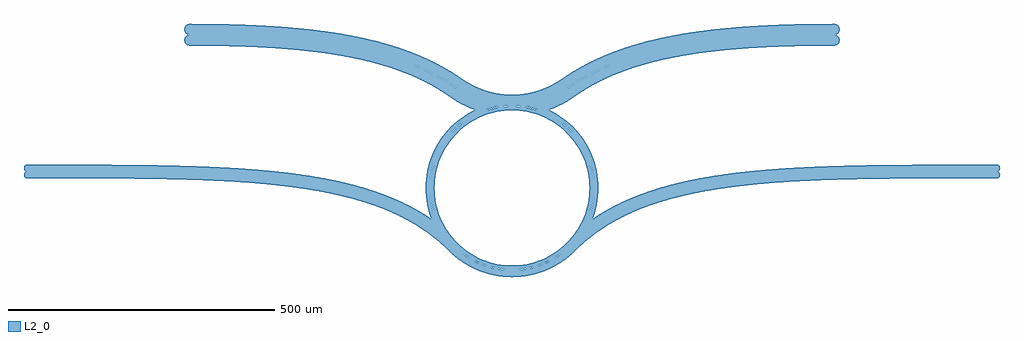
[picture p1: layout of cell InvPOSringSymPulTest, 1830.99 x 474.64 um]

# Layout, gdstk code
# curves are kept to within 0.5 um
import gdstk
lib = gdstk.Library(unit=1e-6, precision=1e-09)
def P(c, l, *ps):  # polygons
    for p in ps: c.add(gdstk.Polygon(p, *l))
L2_0 = (2, 0)

invposringsympultest = lib.new_cell('InvPOSringSymPulTest')
P(invposringsympultest, L2_0, [(1009.294,-181.819),(1009.294,-169.419),(1011.707,-169.906),(1013.678,-171.235),(1015.007,-173.206),(1015.494,-175.619),(1015.007,-178.032),(1013.678,-180.003),(1011.707,-181.332)],
  [(1009.294,-169.169),(1009.294,-156.769),(1011.707,-157.256),(1013.678,-158.585),(1015.007,-160.556),(1015.494,-162.969),(1015.007,-165.382),(1013.678,-167.353),(1011.707,-168.682)],
  [(100,-353.5),(84.954,-352.761),(70.054,-350.551),(55.441,-346.89),(41.258,-341.816),(27.641,-335.375),(14.72,-327.631),(2.621,-318.657),(-8.541,-308.541),(-18.657,-297.379),(-27.631,-285.28),(-35.375,-272.359),(-41.816,-258.742),(-46.89,-244.559),(-50.551,-229.946),(-52.761,-215.046),(-53.5,-200),(-52.761,-184.954),(-50.551,-170.054),(-46.89,-155.441),(-41.816,-141.258),(-35.375,-127.641),(-27.631,-114.72),(-18.657,-102.621),(-8.541,-91.459),(2.621,-81.343),(14.72,-72.369),(27.641,-64.625),(41.258,-58.184),(55.441,-53.11),(70.054,-49.449),(84.954,-47.239),(100,-46.5),(115.046,-47.239),(129.946,-49.449),(144.559,-53.11),(158.742,-58.184),(172.359,-64.625),(185.28,-72.369),(197.379,-81.343),(208.541,-91.459),(218.657,-102.621),(227.631,-114.72),(235.375,-127.641),(241.816,-141.258),(246.89,-155.441),(250.551,-170.054),(252.761,-184.954),(253.5,-200),(245.5,-200),(243.925,-178.651),(241.14,-164.646),(236.995,-150.983),(228.32,-131.412),(216.867,-113.326),(202.884,-97.116),(186.674,-83.133),(174.802,-75.2),(155.68,-65.576),(135.354,-58.86),(114.261,-55.201),(92.861,-54.675),(71.614,-57.296),(50.983,-63.005),(31.412,-71.68),(13.326,-83.133),(-2.884,-97.116),(-16.867,-113.326),(-24.8,-125.198),(-31.53,-137.791),(-39.235,-157.764),(-42.704,-171.614),(-45.325,-192.861),(-45.325,-207.139),(-42.704,-228.386),(-36.995,-249.017),(-31.53,-262.209),(-24.8,-274.802),(-12.473,-292.304),(-2.884,-302.884),(13.326,-316.867),(31.412,-328.32),(44.32,-334.424),(64.646,-341.14),(78.651,-343.925),(92.861,-345.325),(114.261,-344.799),(135.354,-341.14),(149.017,-336.995),(168.588,-328.32),(180.835,-320.979),(192.304,-312.473),(202.884,-302.884),(216.867,-286.674),(224.8,-274.802),(234.424,-255.68),(241.14,-235.354),(243.925,-221.349),(245.5,-200),(253.5,-200),(252.761,-215.046),(250.551,-229.946),(246.89,-244.559),(241.816,-258.742),(235.375,-272.359),(227.631,-285.28),(218.657,-297.379),(208.541,-308.541),(197.379,-318.657),(185.28,-327.631),(172.359,-335.375),(158.742,-341.816),(144.559,-346.89),(129.946,-350.551),(115.046,-352.761)],
  [(-504.506,67.15),(-508.398,67.936),(-511.577,70.079),(-513.72,73.258),(-514.506,77.15),(-513.72,81.043),(-511.577,84.222),(-508.398,86.365),(-504.635,87.15)],
  [(704.506,67.15),(704.635,87.15),(708.398,86.365),(711.577,84.222),(713.72,81.043),(714.506,77.15),(713.72,73.258),(711.577,70.079),(708.398,67.936)],
  [(704.506,87.55),(704.635,107.55),(708.398,106.765),(711.577,104.622),(713.72,101.443),(714.506,97.55),(713.72,93.658),(711.577,90.479),(708.398,88.336)],
  [(100,-367.09),(78.482,-365.699),(58.316,-361.807),(38.78,-355.471),(20.169,-346.786),(7.843,-339.378),(-3.8,-330.937),(-36.767,-300.936),(-61.312,-281.887),(-89.791,-263.835),(-120.496,-248.113),(-147.617,-236.748),(-177.539,-226.384),(-209.189,-217.421),(-243.964,-209.472),(-287.938,-201.658),(-334.43,-195.492),(-387.221,-190.467),(-446.37,-186.685),(-505.699,-184.304),(-575.438,-182.743),(-809.294,-181.819),(-812.117,-181.141),(-814.883,-178.307),(-815.335,-174.219),(-813.238,-170.835),(-809.454,-169.421),(-809.294,-181.819),(-809.294,-169.419),(-635.159,-169.711),(-526.314,-171.332),(-442.613,-174.471),(-371.113,-179.367),(-308.521,-186.186),(-252.165,-195.229),(-213.303,-203.644),(-177.939,-213.321),(-145.815,-224.216),(-115.561,-236.776),(-83.994,-252.896),(-54.689,-271.401),(-29.411,-290.916),(3.159,-320.627),(13.102,-327.975),(24.428,-334.974),(40.678,-342.863),(58.653,-349.062),(76.312,-352.866),(95.244,-354.617),(100,-354.44),(75.412,-352.47),(57.805,-348.564),(40.774,-342.632),(24.55,-334.755),(13.242,-327.769),(3.316,-320.432),(-28.532,-291.337),(-52.775,-272.445),(-79.845,-254.999),(-108.869,-239.635),(-135.156,-228.091),(-164.137,-217.466),(-194.722,-208.2),(-226.928,-200.2),(-266.578,-192.344),(-310.03,-185.734),(-359.185,-180.204),(-410.868,-176.083),(-482,-172.467),(-565.159,-170.266),(-658.071,-169.33),(-809.454,-169.167),(-812.117,-168.491),(-814.172,-166.797),(-815.335,-164.369),(-815.335,-161.569),(-813.122,-158.091),(-809.294,-156.769),(-809.294,-169.169),(-809.294,-156.769),(-643.836,-157.012),(-540.536,-158.353),(-475.046,-160.338),(-416.379,-163.31),(-363.943,-167.31),(-314.353,-172.672),(-272.573,-178.753),(-233.23,-186.155),(-197.033,-194.764),(-163.782,-204.566),(-132.334,-215.907),(-103.567,-228.463),(-76.454,-242.663),(-50.977,-258.603),(-55.024,-247.026),(-58.887,-231.605),(-61.22,-215.879),(-62,-200),(-61.22,-184.121),(-58.887,-168.395),(-55.024,-152.974),(-49.668,-138.005),(-38.952,-116.715),(-30.12,-103.497),(-20.034,-91.207),(-8.793,-79.966),(3.497,-69.88),(16.715,-61.048),(30.706,-53.569),(16.37,-47.714),(2.515,-40.776),(-41.801,-12.692),(-76.22,5.319),(-96.067,13.945),(-116.914,21.844),(-160.174,35.097),(-193.227,42.921),(-228.616,49.559),(-266.497,55.058),(-307.027,59.466),(-350.362,62.83),(-396.659,65.2),(-448.763,66.672),(-504.506,67.151),(-504.506,87.151),(-405.073,85.503),(-321.59,80.728),(-283.361,77.081),(-247.327,72.549),(-215.316,67.445),(-183.223,61.098),(-154.725,54.225),(-127.788,46.452),(-102.32,37.749),(-78.227,28.089),(-43.116,11.01),(-22.126,-1.233),(9.104,-21.538),(22.257,-28.402),(35.924,-34.175),(51.697,-39.288),(68.728,-43.099),(86.917,-45.33),(100,-45.4),(82.605,-44.567),(66.226,-42.239),(50.125,-38.433),(34.437,-33.181),(11.578,-22.477),(-33.842,6.269),(-51.327,15.81),(-71.024,25.334),(-91.68,34.097),(-114.947,42.663),(-139.462,50.402),(-163.537,56.898),(-196.286,64.25),(-231.177,70.516),(-268.341,75.734),(-310.182,80.151),(-352.433,83.344),(-399.936,85.712),(-505.904,87.648),(-509.058,88.644),(-511.577,90.479),(-514.371,95.904),(-514.371,99.197),(-513.412,102.103),(-511.577,104.622),(-508.841,106.564),(-504.506,107.55),(-504.506,87.55),(-504.506,107.55),(-422.123,106.44),(-347.232,102.998),(-279.287,97.058),(-219.762,88.794),(-165.711,77.895),(-138.836,70.92),(-113.315,63.123),(-89.073,54.48),(-64.539,44.302),(-30.105,27.121),(-9.906,15.179),(18.599,-3.464),(30.251,-9.616),(41.641,-14.523),(55.606,-19.198),(69.937,-22.586),(85.289,-24.731),(100,-25.4),(100,-38),(100,-25.4),(114.711,-24.731),(130.063,-22.586),(145.139,-18.984),(159.081,-14.242),(181.401,-3.464),(209.906,15.179),(230.105,27.121),(264.539,44.302),(287.501,53.873),(311.66,62.573),(337.093,70.426),(363.876,77.455),(395.955,84.455),(432.04,90.782),(470.429,96.033),(511.255,100.248),(554.648,103.467),(600.739,105.731),(704.506,107.55),(704.506,87.55),(647.83,87.05),(597.359,85.613),(550.017,83.191),(507.911,79.946),(466.215,75.471),(429.18,70.196),(394.412,63.871),(361.778,56.457),(337.787,49.911),(313.358,42.118),(290.171,33.496),(269.586,24.679),(251.327,15.81),(232.528,5.507),(188.422,-22.477),(165.563,-33.181),(149.875,-38.433),(133.774,-42.239),(117.395,-44.567),(100,-45.4),(113.083,-45.33),(131.272,-43.099),(148.303,-39.288),(164.076,-34.175),(177.743,-28.402),(190.896,-21.538),(222.126,-1.233),(243.116,11.01),(278.227,28.089),(302.32,37.749),(327.788,46.452),(354.725,54.225),(383.223,61.098),(415.316,67.445),(447.327,72.549),(483.361,77.081),(521.59,80.728),(605.073,85.503),(704.506,87.151),(704.506,67.151),(648.763,66.672),(596.659,65.2),(550.362,62.83),(507.027,59.466),(466.497,55.058),(428.616,49.559),(393.227,42.921),(360.174,35.097),(316.914,21.844),(296.067,13.945),(276.22,5.319),(241.801,-12.692),(197.485,-40.776),(183.63,-47.714),(169.294,-53.569),(190.002,-65.302),(208.793,-79.966),(225.228,-97.228),(238.952,-116.715),(249.668,-138.005),(257.145,-160.637),(260.247,-176.23),(262,-200),(254,-200),(252.333,-177.404),(247.369,-155.296),(239.214,-134.157),(228.046,-114.442),(219.044,-102.303),(203.42,-85.894),(191.738,-76.306),(172.595,-64.184),(151.881,-55.002),(137.419,-50.615),(122.596,-47.667),(100,-46),(77.404,-47.667),(55.296,-52.631),(34.157,-60.786),(20.828,-67.91),(2.303,-80.956),(-8.894,-91.106),(-19.044,-102.303),(-32.09,-120.828),(-39.214,-134.157),(-47.369,-155.296),(-51.041,-169.956),(-53.258,-184.905),(-54,-200),(-52.333,-222.596),(-49.385,-237.419),(-44.998,-251.881),(-35.816,-272.595),(-28.046,-285.558),(-19.044,-297.697),(-3.42,-314.106),(8.262,-323.694),(27.405,-335.816),(48.119,-344.998),(69.956,-351.041),(92.444,-353.815),(115.095,-353.258),(137.419,-349.385),(158.933,-342.277),(179.172,-332.09),(197.697,-319.044),(214.106,-303.42),(228.046,-285.558),(239.214,-265.843),(247.369,-244.704),(252.333,-222.596),(254,-200),(262,-200),(261.805,-207.949),(258.887,-231.605),(255.024,-247.026),(250.977,-258.603),(276.454,-242.663),(304.469,-228.033),(335.206,-214.776),(367.84,-203.259),(402.392,-193.365),(440.021,-184.744),(482.135,-177.214),(525.767,-171.277),(591.346,-165.035),(668.366,-160.611),(754.795,-158.061),(867.039,-156.896),(1009.294,-156.769),(1009.294,-169.169),(786.868,-169.938),(712.499,-171.456),(649.068,-173.894),(589.243,-177.626),(535.841,-182.605),(487.249,-188.969),(442.237,-196.931),(406.608,-205.056),(372.891,-214.627),(342.252,-225.302),(313.337,-237.528),(281.927,-253.791),(253.743,-271.76),(228.532,-291.337),(196.684,-320.432),(186.758,-327.769),(175.45,-334.755),(158.348,-342.994),(141.28,-348.821),(123.65,-352.618),(100,-354.44),(103.805,-354.643),(122.748,-353.008),(141.347,-349.062),(159.322,-342.863),(175.572,-334.974),(186.898,-327.975),(196.841,-320.627),(229.411,-290.916),(254.689,-271.401),(283.994,-252.896),(315.561,-236.776),(345.815,-224.216),(377.939,-213.321),(413.303,-203.644),(452.165,-195.229),(510.06,-185.982),(574.114,-179.107),(645.84,-174.305),(733.283,-171.162),(842.747,-169.662),(1009.294,-169.419),(1009.294,-181.819),(789.873,-182.541),(715.902,-184.004),(652.803,-186.367),(590.246,-190.231),(537.281,-195.172),(487.938,-201.658),(443.964,-209.472),(409.189,-217.421),(377.539,-226.384),(347.617,-236.748),(320.496,-248.113),(289.791,-263.835),(261.312,-281.887),(236.767,-300.936),(203.8,-330.937),(192.157,-339.378),(179.831,-346.786),(161.22,-355.471),(141.684,-361.807),(121.518,-365.699),(101.028,-367.087),(100,-367.09),(100,-362)])

lib.write_gds('InvPOSringSymPulTest.gds')
